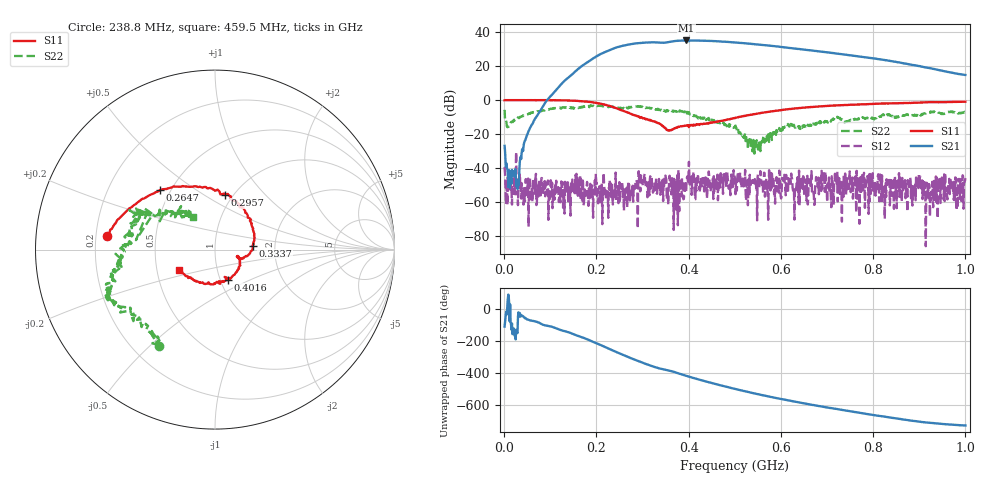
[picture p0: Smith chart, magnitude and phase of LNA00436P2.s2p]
! Created with skrf 1.9.0 (http://scikit-rf.org).
# Hz S RI R 50.0
!freq ReS11 ImS11 ReS21 ImS21 ReS12 ImS12 ReS22 ImS22
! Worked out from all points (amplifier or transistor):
!   1001 points, 1 MHz to 1 GHz, reference 50 ohm
!   highest |S21| = 35.1 dB at 394.6 MHz (marker M1)
!   |S21| within 3 dB of that: 259.8 MHz to 573.6 MHz (313.8 MHz wide, 75.3 % of centre)
!   unconditionally stable (mu >= 1): 8.552 MHz to 57.55 MHz; 304.9 MHz to 377.6 MHz; 401 MHz to end of sweep (the widest 3 of 38)
!   at 166.8 MHz: K = 1.41, MAG = 29.4 dB, |S12| = -46.7 dB
!   at 500.5 MHz: K = 2.18, MAG = 34.4 dB, |S12| = -47.1 dB
!   at 1 GHz: K = 3.17, MAG = 22.4 dB, |S12| = -45.9 dB
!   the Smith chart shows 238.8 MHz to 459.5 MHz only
!   S11 on the Smith chart (normalised r, x): 238.8 MHz: 0.25, +0.06; 264.7 MHz: 0.44, +0.37; 295.7 MHz: 0.92, +0.62; 333.7 MHz: 1.53, +0.07; 401.6 MHz: 1.09, -0.38; 459.5 MHz: 0.65, -0.15
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1000000  0.9911 0.01  -0.0163 -0.0422  -0.00567 0.00913  0.3807 0.3524
1.08892e8  0.525 -0.845  -0.8013 -1.531  -0.000142 0.00117  0.4259 -0.3748
1.67833e8  -0.2246 -0.9043  -9.872 -0.6603  0.00109 -0.000445  0.0367 -0.6345
2.08792e8  -0.6682 -0.4133  -15.85 15.97  0.000845 -0.000361  -0.2066 -0.6502
2.38762e8  -0.6015 0.0783  -3.662 33.41  -0.00178 -0.00171  -0.3127 -0.535
2.64736e8  -0.3065 0.3316  17.72 37.75  -0.00163 0.002  -0.447 -0.355
2.95705e8  0.0545 0.3043  41.77 23.45  -0.00144 -0.00167  -0.5831 -0.2352
3.13687e8  0.1825 0.1905  48.93 8.362  -0.00287 0.00103  -0.5741 -0.1491
3.33667e8  0.2092 0.022  48.88 -7.412  -0.00313 -0.002  -0.5544 -0.0236
3.34666e8  0.2111 0.0057  48.64 -8.361  -0.000435 0.00261  -0.5136 -0.0383
3.68632e8  0.1383 -0.0521  45.5 -29.69  -0.00209 0.00433  -0.4494 0.1506
3.94606e8  0.0974 -0.1487  30.76 -47.68  -0.00087 0.00188  -0.4162 0.1956
4.01599e8  0.0732 -0.1682  25.5 -50.46  -0.00227 0.00497  -0.3464 0.1967
4.27573e8  -0.0602 -0.1905  5.491 -55.5  0.000991 0.00381  -0.2164 0.1947
4.59541e8  -0.2022 -0.1128  -17.72 -50.9  -0.00213 -0.000611  -0.1249 0.1821
5.005e8  -0.2809 0.0897  -37.53 -32.83  -0.00141 -0.00417  -0.0954 0.1384
5.65435e8  -0.153 0.4086  -41.33 0.7906  -0.00145 -0.000148  -0.0812 -0.0179
6.11389e8  0.0483 0.5271  -31.12 16.12  0.00184 -0.00609  -0.1761 -0.0679
6.67333e8  0.3222 0.5401  -15.2 24.12  -0.00142 -0.00146  -0.2021 -0.0496
7.53247e8  0.6297 0.3739  3.332 20.22  -0.0012 -0.00367  -0.246 -0.016
8.34166e8  0.7863 0.1448  10.28 10.08  -0.0038 -0.00127  -0.365 -0.00332
1e9  0.8124 -0.3825  5.461 -0.5807  -0.000342 -0.00508  -0.2868 0.3293
